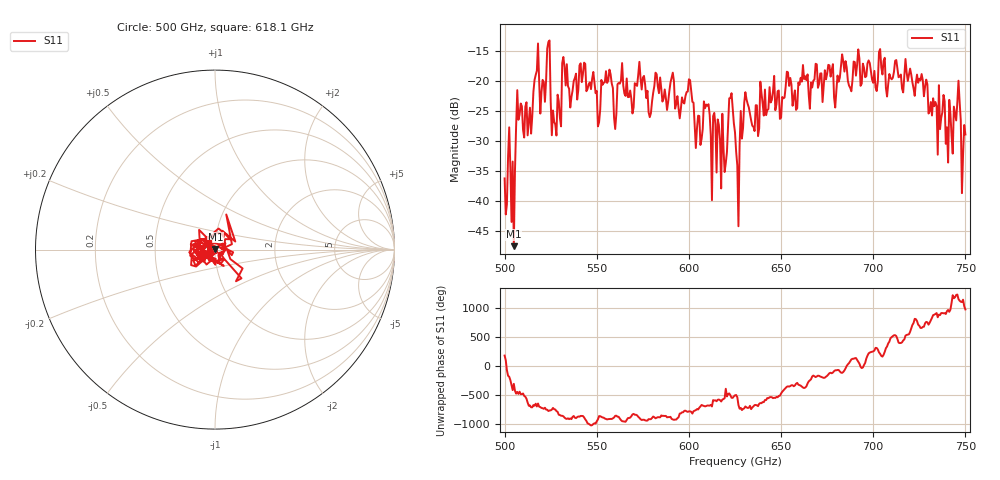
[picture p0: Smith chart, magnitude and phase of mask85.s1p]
!Created with skrf (http://scikit-rf.org).
# GHz S MA R 50.0
!freq magS11 angS11
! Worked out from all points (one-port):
!   401 points, 500 GHz to 750 GHz, reference 50 ohm
!   lowest |S11| = -47.5 dB at 505 GHz (marker M1), VSWR 1.01, Z = 50.3 + j0.328 ohm
!   |S11| at or under -10 dB: start of sweep to end of sweep
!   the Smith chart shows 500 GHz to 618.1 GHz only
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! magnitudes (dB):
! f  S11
! 500 GHz  -36.2
! 505 GHz  -47.5
! 507.5 GHz  -26.5
! 513.8 GHz  -24.5
! 516.9 GHz  -19.0
! 520.6 GHz  -19.8
! 523.8 GHz  -13.5
! 526.9 GHz  -26.8
! 531.2 GHz  -17.0
! 542.5 GHz  -18.8
! 550.6 GHz  -27.6
! 556.2 GHz  -19.9
! 560 GHz  -28.0
! 562.5 GHz  -20.4
! 593.8 GHz  -22.5
! 600 GHz  -19.7
! 605 GHz  -25.8
! 609.4 GHz  -23.9
! 618.8 GHz  -31.1
! 623.1 GHz  -22.0
! 625 GHz  -28.6
! 626.2 GHz  -34.1
! 631.2 GHz  -23.1
! 634.4 GHz  -27.5
! 656.2 GHz  -24.1
! 687.5 GHz  -21.1
! 718.8 GHz  -20.0
! 750 GHz  -28.9
